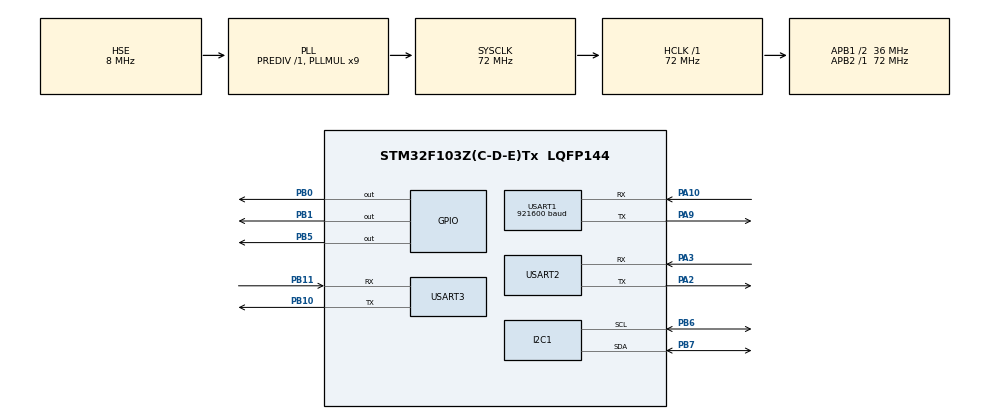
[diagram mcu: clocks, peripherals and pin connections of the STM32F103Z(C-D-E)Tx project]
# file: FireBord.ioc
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ADC1.Channel-0\#ChannelRegularConversion=ADC_CHANNEL_VREFINT
ADC1.Channel-1\#ChannelRegularConversion=ADC_CHANNEL_TEMPSENSOR
ADC1.ContinuousConvMode=ENABLE
ADC1.NbrOfConversion=2
ADC1.NbrOfConversionFlag=1
ADC1.Rank-0\#ChannelRegularConversion=1
ADC1.Rank-1\#ChannelRegularConversion=2
ADC1.SamplingTime-0\#ChannelRegularConversion=ADC_SAMPLETIME_41CYCLES_5
ADC1.SamplingTime-1\#ChannelRegularConversion=ADC_SAMPLETIME_55CYCLES_5
ADC1.master=1
Dma.ADC1.0.Direction=DMA_PERIPH_TO_MEMORY
Dma.ADC1.0.Instance=DMA1_Channel1
Dma.ADC1.0.MemDataAlignment=DMA_MDATAALIGN_HALFWORD
Dma.ADC1.0.MemInc=DMA_MINC_ENABLE
Dma.ADC1.0.Mode=DMA_CIRCULAR
Dma.ADC1.0.PeriphDataAlignment=DMA_PDATAALIGN_HALFWORD
Dma.ADC1.0.PeriphInc=DMA_PINC_DISABLE
Dma.ADC1.0.Priority=DMA_PRIORITY_LOW
Dma.Request0=ADC1
Mcu.Family=STM32F1
Mcu.Name=STM32F103Z(C-D-E)Tx
Mcu.Package=LQFP144
NVIC.ADC1_2_IRQn=true\:1\:0\:true\:false\:true\:true\:true\:true
NVIC.DMA1_Channel1_IRQn=true\:0\:0\:false\:false\:true\:false\:true\:true
NVIC.PriorityGroup=NVIC_PRIORITYGROUP_4
NVIC.TIM2_IRQn=true\:2\:0\:true\:false\:true\:true\:true\:true
NVIC.USART1_IRQn=true\:5\:0\:true\:false\:true\:true\:true\:true
NVIC.USART2_IRQn=true\:6\:0\:true\:false\:true\:true\:true\:true
NVIC.USART3_IRQn=true\:7\:0\:true\:false\:true\:true\:true\:true
OSC_IN.Mode=HSE-External-Oscillator
OSC_IN.Signal=RCC_OSC_IN
OSC_OUT.Mode=HSE-External-Oscillator
OSC_OUT.Signal=RCC_OSC_OUT
PA10.Mode=Asynchronous
PA10.Signal=USART1_RX
PA13.Mode=Serial_Wire
PA13.Signal=SYS_JTMS-SWDIO
PA14.Mode=Serial_Wire
PA14.Signal=SYS_JTCK-SWCLK
PA2.Mode=Asynchronous
PA2.Signal=USART2_TX
PA3.Mode=Asynchronous
PA3.Signal=USART2_RX
PA9.Mode=Asynchronous
PA9.Signal=USART1_TX
PB0.GPIO_PuPd=GPIO_PULLUP
PB0.PinState=GPIO_PIN_SET
PB0.Signal=GPIO_Output
PB1.GPIO_PuPd=GPIO_PULLUP
PB1.PinState=GPIO_PIN_SET
PB1.Signal=GPIO_Output
PB10.Mode=Asynchronous
PB10.Signal=USART3_TX
PB11.Mode=Asynchronous
PB11.Signal=USART3_RX
PB5.GPIO_PuPd=GPIO_PULLUP
PB5.PinState=GPIO_PIN_SET
PB5.Signal=GPIO_Output
PB6.Mode=I2C
PB6.Signal=I2C1_SCL
PB7.Mode=I2C
PB7.Signal=I2C1_SDA
ProjectManager.HeapSize=0x200
ProjectManager.StackSize=0x400
ProjectManager.TargetToolchain=Makefile
RCC.ADCPresc=RCC_ADCPCLK2_DIV6
RCC.AHBFreq_Value=72000000
RCC.APB1CLKDivider=RCC_HCLK_DIV2
RCC.APB1Freq_Value=36000000
RCC.APB1TimFreq_Value=72000000
RCC.APB2Freq_Value=72000000
RCC.APB2TimFreq_Value=72000000
RCC.HCLKFreq_Value=72000000
RCC.PLLMUL=RCC_PLL_MUL9
RCC.PLLSourceVirtual=RCC_PLLSOURCE_HSE
RCC.SYSCLKFreq_VALUE=72000000
RCC.SYSCLKSource=RCC_SYSCLKSOURCE_PLLCLK
RCC.USBFreq_Value=72000000
TIM2.AutoReloadPreload=TIM_AUTORELOAD_PRELOAD_ENABLE
TIM2.Period=10000-1
TIM2.Prescaler=7200-1
USART1.BaudRate=921600
USART1.VirtualMode=VM_ASYNC
USART2.VirtualMode=VM_ASYNC
USART3.VirtualMode=VM_ASYNC
VP_ADC1_TempSens_Input.Mode=IN-TempSens
VP_ADC1_Vref_Input.Mode=IN-Vrefint
VP_TIM2_VS_ClockSourceINT.Mode=Internal
board=custom

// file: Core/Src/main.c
/* USER CODE BEGIN Header */
/**
  ******************************************************************************
  * @file           : main.c
  * @brief          : Main program body
  ******************************************************************************
  * @attention
  *
  * Copyright (c) 2025 STMicroelectronics.
  * All rights reserved.
  *
  * This software is licensed under terms that can be found in the LICENSE file
  * in the root directory of this software component.
  * If no LICENSE file comes with this software, it is provided AS-IS.
  *
  ******************************************************************************
  */
/* USER CODE END Header */
#include "main.h"
#include "adc.h"
#include "dma.h"
#include "i2c.h"
#include "tim.h"
#include "usart.h"
#include "gpio.h"

void SystemClock_Config(void);

int main(void)
{

  /* MCU Configuration--------------------------------------------------------*/

  /* Reset of all peripherals, Initializes the Flash interface and the Systick. */
  HAL_Init();

  /* Configure the system clock */
  SystemClock_Config();

  /* Initialize all configured peripherals */
  MX_GPIO_Init();
  MX_DMA_Init();
  MX_I2C1_Init();
  MX_USART1_UART_Init();
  MX_USART2_UART_Init();
  MX_USART3_UART_Init();
  MX_ADC1_Init();
  MX_TIM2_Init();
  /* USER CODE BEGIN 2 */
  GPIO_LED_Init();
  IIC_GPIO_Init();
  ESP8266_GPIO_Config();
  HAL_UART_Receive_IT(&huart1, &usbRxBuf, 1);
  HAL_UART_Receive_IT(&huart2, &deviceRxBuf, 1);
  HAL_UART_Receive_IT(&huart3, &wifiRxBuf, 1);
	UsbPrintf("Fier Board V1.1 update on %s at %s\r\n",__DATE__, __TIME__);
  uint32_t systemTick = 0;
  //macESP8266_CH_ENABLE();   //ʹ�� ESP8266

  HAL_TIM_Base_Start_IT(&htim2);

  //uint16_t adcValue[2]={0,0};
  //HAL_ADC_Start_DMA(&hadc1,(uint32_t *)adcValue,2);

  /* USER CODE END 2 */
  Button_Manage();
  /* Infinite loop */
  while (1)
  {

    /* USER CODE BEGIN 3 */

    if (systemTick != HAL_GetTick())
    {
      CheckCommandList();
      DeviceMassage();
      //show_wifi_Message();WIFI��Ϣ

      if (systemTick % 1000 == 0)
      {
        //LED()��
        //UsbPrintf("\nv: %d, t: %d\r\n", adcValue[0],adcValue[1]);
        //UsbPrintf("V: %.4f, T: %d\r\n", adcValue[0]*3.3/4096, (0X6EE - adcValue[1])/0X05 + 25);
        //SoftUART_SendByte();

      }
      if (systemTick % 500 == 0)
      {

      }
      systemTick = HAL_GetTick();
    }
  }
  /* USER CODE END 3 */
}

void SystemClock_Config(void)
{
  RCC_OscInitTypeDef RCC_OscInitStruct = {0};
  RCC_ClkInitTypeDef RCC_ClkInitStruct = {0};
  RCC_PeriphCLKInitTypeDef PeriphClkInit = {0};

  /** Initializes the RCC Oscillators according to the specified parameters
  * in the RCC_OscInitTypeDef structure.
  */
  RCC_OscInitStruct.OscillatorType = RCC_OSCILLATORTYPE_HSE;
  RCC_OscInitStruct.HSEState = RCC_HSE_ON;
  RCC_OscInitStruct.HSEPredivValue = RCC_HSE_PREDIV_DIV1;
  RCC_OscInitStruct.HSIState = RCC_HSI_ON;
  RCC_OscInitStruct.PLL.PLLState = RCC_PLL_ON;
  RCC_OscInitStruct.PLL.PLLSource = RCC_PLLSOURCE_HSE;
  RCC_OscInitStruct.PLL.PLLMUL = RCC_PLL_MUL9;
  if (HAL_RCC_OscConfig(&RCC_OscInitStruct) != HAL_OK)
  {
    Error_Handler();
  }

  /** Initializes the CPU, AHB and APB buses clocks
  */
  RCC_ClkInitStruct.ClockType = RCC_CLOCKTYPE_HCLK|RCC_CLOCKTYPE_SYSCLK
                              |RCC_CLOCKTYPE_PCLK1|RCC_CLOCKTYPE_PCLK2;
  RCC_ClkInitStruct.SYSCLKSource = RCC_SYSCLKSOURCE_PLLCLK;
  RCC_ClkInitStruct.AHBCLKDivider = RCC_SYSCLK_DIV1;
  RCC_ClkInitStruct.APB1CLKDivider = RCC_HCLK_DIV2;
  RCC_ClkInitStruct.APB2CLKDivider = RCC_HCLK_DIV1;

  if (HAL_RCC_ClockConfig(&RCC_ClkInitStruct, FLASH_LATENCY_2) != HAL_OK)
  {
    Error_Handler();
  }
  PeriphClkInit.PeriphClockSelection = RCC_PERIPHCLK_ADC;
  PeriphClkInit.AdcClockSelection = RCC_ADCPCLK2_DIV6;
  if (HAL_RCCEx_PeriphCLKConfig(&PeriphClkInit) != HAL_OK)
  {
    Error_Handler();
  }
}

void Error_Handler(void)
{
  __disable_irq();
  while (1)
  {
  }
}
